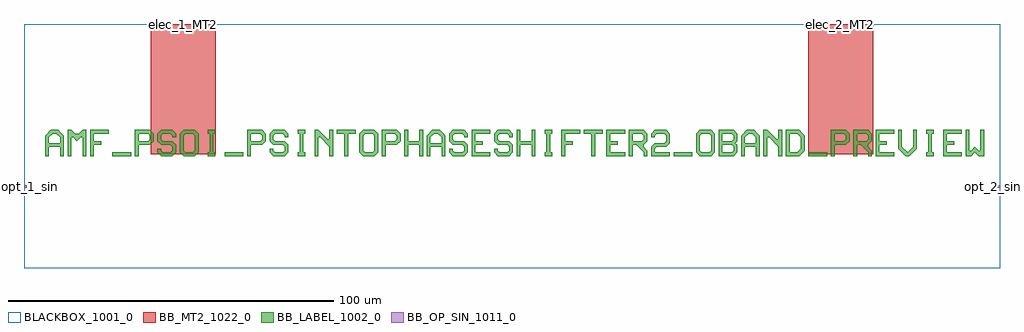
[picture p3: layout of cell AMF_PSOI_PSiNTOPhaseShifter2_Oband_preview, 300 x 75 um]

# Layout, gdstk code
import gdstk
lib = gdstk.Library(unit=1e-6, precision=1e-09)
def R(c, l, rs):  # rectangles x0, y0, x1, y1
    for r in rs: c.add(gdstk.rectangle(r[:2], r[2:], *l))
def P(c, l, *ps):  # polygons
    for p in ps: c.add(gdstk.Polygon(p, *l))
BLACKBOX_1001_0 = (1001, 0)
BB_LABEL_1002_0 = (1002, 0)
BB_OP_SIN_1011_0 = (1011, 0)
BB_MT2_1022_0 = (1022, 0)

amf_psoi_psintophaseshif = lib.new_cell('AMF_PSOI_PSiNTOPhaseShifter2_Oband_preview')
R(amf_psoi_psintophaseshif, BLACKBOX_1001_0, [(0,-25,300,50)])
R(amf_psoi_psintophaseshif, BB_LABEL_1002_0, [(27.196,9.383,32.946,10.533), (61.696,9.383,67.446,10.533), (199.696,9.383,205.446,10.533), (241.096,9.383,246.846,10.533)])
P(amf_psoi_psintophaseshif, BB_LABEL_1002_0, [(6.496,9.383),(6.496,15.708),(8.221,17.433),(10.521,17.433),(11.671,16.283),(8.796,16.283),(7.646,15.133),(7.646,13.408),(11.096,13.408),(11.096,15.133),(9.946,16.283),(11.671,16.283),(12.246,15.708),(12.246,9.383),(11.096,9.383),(11.096,12.258),(7.646,12.258),(7.646,9.383)],
  [(13.396,9.383),(13.396,17.433),(14.546,17.433),(15.696,16.283),(16.846,16.283),(17.996,17.433),(19.146,17.433),(19.146,9.383),(17.996,9.383),(17.996,15.133),(17.421,15.133),(16.271,13.983),(15.121,15.133),(14.546,15.133),(14.546,9.383)],
  [(20.296,9.383),(20.296,17.433),(26.046,17.433),(26.046,16.283),(21.446,16.283),(21.446,13.983),(23.746,13.983),(23.746,12.833),(21.446,12.833),(21.446,9.383)],
  [(34.096,9.383),(34.096,17.433),(38.696,17.433),(39.846,16.283),(39.846,13.983),(38.696,12.833),(35.246,12.833),(35.246,13.983),(38.121,13.983),(38.696,14.558),(38.696,15.708),(38.121,16.283),(35.246,16.283),(35.246,9.383)],
  [(42.146,9.383),(40.996,10.533),(40.996,11.683),(42.146,11.683),(42.146,11.108),(42.721,10.533),(45.021,10.533),(45.596,11.108),(45.596,12.258),(45.021,12.833),(42.146,12.833),(40.996,13.983),(40.996,16.283),(42.146,17.433),(45.596,17.433),(46.746,16.283),(46.746,15.133),(45.596,15.133),(45.596,15.708),(45.021,16.283),(42.721,16.283),(42.146,15.708),(42.146,14.558),(42.721,13.983),(45.596,13.983),(46.746,12.833),(46.746,10.533),(45.596,9.383)],
  [(49.046,9.383),(47.896,10.533),(47.896,16.283),(49.046,17.433),(52.496,17.433),(53.646,16.283),(53.646,13.408),(52.496,13.408),(52.496,15.708),(51.921,16.283),(49.621,16.283),(49.046,15.708),(49.046,11.108),(49.621,10.533),(51.921,10.533),(52.496,11.108),(52.496,13.408),(53.646,13.408),(53.646,10.533),(52.496,9.383)],
  [(56.521,9.383),(56.521,10.533),(57.096,10.533),(57.096,16.283),(56.521,16.283),(56.521,17.433),(58.821,17.433),(58.821,16.283),(58.246,16.283),(58.246,10.533),(58.821,10.533),(58.821,9.383)],
  [(68.596,9.383),(68.596,17.433),(73.196,17.433),(74.346,16.283),(74.346,13.983),(73.196,12.833),(69.746,12.833),(69.746,13.983),(72.621,13.983),(73.196,14.558),(73.196,15.708),(72.621,16.283),(69.746,16.283),(69.746,9.383)],
  [(76.646,9.383),(75.496,10.533),(75.496,11.683),(76.646,11.683),(76.646,11.108),(77.221,10.533),(79.521,10.533),(80.096,11.108),(80.096,12.258),(79.521,12.833),(76.646,12.833),(75.496,13.983),(75.496,16.283),(76.646,17.433),(80.096,17.433),(81.246,16.283),(81.246,15.133),(80.096,15.133),(80.096,15.708),(79.521,16.283),(77.221,16.283),(76.646,15.708),(76.646,14.558),(77.221,13.983),(80.096,13.983),(81.246,12.833),(81.246,10.533),(80.096,9.383)],
  [(84.121,9.383),(84.121,10.533),(84.696,10.533),(84.696,16.283),(84.121,16.283),(84.121,17.433),(86.421,17.433),(86.421,16.283),(85.846,16.283),(85.846,10.533),(86.421,10.533),(86.421,9.383)],
  [(89.296,9.383),(89.296,17.433),(90.446,17.433),(93.321,14.558),(93.896,14.558),(93.896,17.433),(95.046,17.433),(95.046,9.383),(93.896,9.383),(93.896,12.258),(91.021,15.133),(90.446,15.133),(90.446,9.383)],
  [(98.496,9.383),(98.496,16.283),(96.196,16.283),(96.196,17.433),(101.946,17.433),(101.946,16.283),(99.646,16.283),(99.646,9.383)],
  [(104.246,9.383),(103.096,10.533),(103.096,16.283),(104.246,17.433),(107.696,17.433),(108.846,16.283),(108.846,13.408),(107.696,13.408),(107.696,15.708),(107.121,16.283),(104.821,16.283),(104.246,15.708),(104.246,11.108),(104.821,10.533),(107.121,10.533),(107.696,11.108),(107.696,13.408),(108.846,13.408),(108.846,10.533),(107.696,9.383)],
  [(109.996,9.383),(109.996,17.433),(114.596,17.433),(115.746,16.283),(115.746,13.983),(114.596,12.833),(111.146,12.833),(111.146,13.983),(114.021,13.983),(114.596,14.558),(114.596,15.708),(114.021,16.283),(111.146,16.283),(111.146,9.383)],
  [(116.896,9.383),(116.896,17.433),(118.046,17.433),(118.046,13.983),(121.496,13.983),(121.496,17.433),(122.646,17.433),(122.646,9.383),(121.496,9.383),(121.496,12.833),(118.046,12.833),(118.046,9.383)],
  [(123.796,9.383),(123.796,15.708),(125.521,17.433),(127.821,17.433),(128.971,16.283),(126.096,16.283),(124.946,15.133),(124.946,13.408),(128.396,13.408),(128.396,15.133),(127.246,16.283),(128.971,16.283),(129.546,15.708),(129.546,9.383),(128.396,9.383),(128.396,12.258),(124.946,12.258),(124.946,9.383)],
  [(131.846,9.383),(130.696,10.533),(130.696,11.683),(131.846,11.683),(131.846,11.108),(132.421,10.533),(134.721,10.533),(135.296,11.108),(135.296,12.258),(134.721,12.833),(131.846,12.833),(130.696,13.983),(130.696,16.283),(131.846,17.433),(135.296,17.433),(136.446,16.283),(136.446,15.133),(135.296,15.133),(135.296,15.708),(134.721,16.283),(132.421,16.283),(131.846,15.708),(131.846,14.558),(132.421,13.983),(135.296,13.983),(136.446,12.833),(136.446,10.533),(135.296,9.383)],
  [(137.596,9.383),(137.596,17.433),(143.346,17.433),(143.346,16.283),(138.746,16.283),(138.746,13.983),(141.046,13.983),(141.046,12.833),(138.746,12.833),(138.746,10.533),(143.346,10.533),(143.346,9.383)],
  [(145.646,9.383),(144.496,10.533),(144.496,11.683),(145.646,11.683),(145.646,11.108),(146.221,10.533),(148.521,10.533),(149.096,11.108),(149.096,12.258),(148.521,12.833),(145.646,12.833),(144.496,13.983),(144.496,16.283),(145.646,17.433),(149.096,17.433),(150.246,16.283),(150.246,15.133),(149.096,15.133),(149.096,15.708),(148.521,16.283),(146.221,16.283),(145.646,15.708),(145.646,14.558),(146.221,13.983),(149.096,13.983),(150.246,12.833),(150.246,10.533),(149.096,9.383)],
  [(151.396,9.383),(151.396,17.433),(152.546,17.433),(152.546,13.983),(155.996,13.983),(155.996,17.433),(157.146,17.433),(157.146,9.383),(155.996,9.383),(155.996,12.833),(152.546,12.833),(152.546,9.383)],
  [(160.021,9.383),(160.021,10.533),(160.596,10.533),(160.596,16.283),(160.021,16.283),(160.021,17.433),(162.321,17.433),(162.321,16.283),(161.746,16.283),(161.746,10.533),(162.321,10.533),(162.321,9.383)],
  [(165.196,9.383),(165.196,17.433),(170.946,17.433),(170.946,16.283),(166.346,16.283),(166.346,13.983),(168.646,13.983),(168.646,12.833),(166.346,12.833),(166.346,9.383)],
  [(174.396,9.383),(174.396,16.283),(172.096,16.283),(172.096,17.433),(177.846,17.433),(177.846,16.283),(175.546,16.283),(175.546,9.383)],
  [(178.996,9.383),(178.996,17.433),(184.746,17.433),(184.746,16.283),(180.146,16.283),(180.146,13.983),(182.446,13.983),(182.446,12.833),(180.146,12.833),(180.146,10.533),(184.746,10.533),(184.746,9.383)],
  [(185.896,9.383),(185.896,17.433),(190.496,17.433),(191.646,16.283),(187.046,16.283),(187.046,13.983),(189.921,13.983),(190.496,14.558),(190.496,15.708),(189.921,16.283),(191.646,16.283),(191.646,13.983),(190.496,12.833),(190.496,12.258),(191.646,11.108),(191.646,9.383),(190.496,9.383),(190.496,10.533),(188.196,12.833),(187.046,12.833),(187.046,9.383)],
  [(192.796,9.383),(192.796,12.258),(193.946,13.408),(196.821,13.408),(197.396,13.983),(197.396,15.708),(196.821,16.283),(194.521,16.283),(193.946,15.708),(193.946,15.133),(192.796,15.133),(192.796,16.283),(193.946,17.433),(197.396,17.433),(198.546,16.283),(198.546,13.408),(197.396,12.258),(194.521,12.258),(193.946,11.683),(193.946,10.533),(198.546,10.533),(198.546,9.383)],
  [(207.746,9.383),(206.596,10.533),(206.596,16.283),(207.746,17.433),(211.196,17.433),(212.346,16.283),(212.346,13.408),(211.196,13.408),(211.196,15.708),(210.621,16.283),(208.321,16.283),(207.746,15.708),(207.746,11.108),(208.321,10.533),(210.621,10.533),(211.196,11.108),(211.196,13.408),(212.346,13.408),(212.346,10.533),(211.196,9.383)],
  [(213.496,9.383),(213.496,17.433),(218.096,17.433),(219.246,16.283),(214.646,16.283),(214.646,13.983),(217.521,13.983),(218.096,14.558),(218.096,15.708),(217.521,16.283),(219.246,16.283),(219.246,13.983),(218.671,13.408),(219.246,12.833),(214.646,12.833),(214.646,10.533),(217.521,10.533),(218.096,11.108),(218.096,12.258),(217.521,12.833),(219.246,12.833),(219.246,10.533),(218.096,9.383)],
  [(220.396,9.383),(220.396,15.708),(222.121,17.433),(224.421,17.433),(225.571,16.283),(222.696,16.283),(221.546,15.133),(221.546,13.408),(224.996,13.408),(224.996,15.133),(223.846,16.283),(225.571,16.283),(226.146,15.708),(226.146,9.383),(224.996,9.383),(224.996,12.258),(221.546,12.258),(221.546,9.383)],
  [(227.296,9.383),(227.296,17.433),(228.446,17.433),(231.321,14.558),(231.896,14.558),(231.896,17.433),(233.046,17.433),(233.046,9.383),(231.896,9.383),(231.896,12.258),(229.021,15.133),(228.446,15.133),(228.446,9.383)],
  [(234.196,9.383),(234.196,17.433),(238.221,17.433),(239.371,16.283),(235.346,16.283),(235.346,10.533),(237.646,10.533),(238.796,11.683),(238.796,15.133),(237.646,16.283),(239.371,16.283),(239.946,15.708),(239.946,11.108),(238.221,9.383)],
  [(247.996,9.383),(247.996,17.433),(252.596,17.433),(253.746,16.283),(253.746,13.983),(252.596,12.833),(249.146,12.833),(249.146,13.983),(252.021,13.983),(252.596,14.558),(252.596,15.708),(252.021,16.283),(249.146,16.283),(249.146,9.383)],
  [(254.896,9.383),(254.896,17.433),(259.496,17.433),(260.646,16.283),(256.046,16.283),(256.046,13.983),(258.921,13.983),(259.496,14.558),(259.496,15.708),(258.921,16.283),(260.646,16.283),(260.646,13.983),(259.496,12.833),(259.496,12.258),(260.646,11.108),(260.646,9.383),(259.496,9.383),(259.496,10.533),(257.196,12.833),(256.046,12.833),(256.046,9.383)],
  [(261.796,9.383),(261.796,17.433),(267.546,17.433),(267.546,16.283),(262.946,16.283),(262.946,13.983),(265.246,13.983),(265.246,12.833),(262.946,12.833),(262.946,10.533),(267.546,10.533),(267.546,9.383)],
  [(270.996,9.383),(268.696,11.683),(268.696,17.433),(269.846,17.433),(269.846,12.258),(271.571,10.533),(273.296,12.258),(273.296,17.433),(274.446,17.433),(274.446,11.683),(272.146,9.383)],
  [(277.321,9.383),(277.321,10.533),(277.896,10.533),(277.896,16.283),(277.321,16.283),(277.321,17.433),(279.621,17.433),(279.621,16.283),(279.046,16.283),(279.046,10.533),(279.621,10.533),(279.621,9.383)],
  [(282.496,9.383),(282.496,17.433),(288.246,17.433),(288.246,16.283),(283.646,16.283),(283.646,13.983),(285.946,13.983),(285.946,12.833),(283.646,12.833),(283.646,10.533),(288.246,10.533),(288.246,9.383)],
  [(289.396,9.383),(289.396,17.433),(290.546,17.433),(290.546,11.108),(291.121,11.108),(292.271,12.258),(293.421,11.108),(293.996,11.108),(293.996,17.433),(295.146,17.433),(295.146,9.383),(293.421,9.383),(292.271,10.533),(291.121,9.383)])
R(amf_psoi_psintophaseshif, BB_OP_SIN_1011_0, [(0,-0.4,0.8,0.4), (299.2,-0.4,300,0.4)])
R(amf_psoi_psintophaseshif, BB_MT2_1022_0, [(39,10,59,50), (241,10,261,50)])
amf_psoi_psintophaseshif.add(gdstk.Label('elec_1_MT2', (49,50), layer=1022, texttype=0))
amf_psoi_psintophaseshif.add(gdstk.Label('elec_2_MT2', (251,50), layer=1022, texttype=0))
amf_psoi_psintophaseshif.add(gdstk.Label('opt_2_sin', (300,0), layer=1011, texttype=0))
amf_psoi_psintophaseshif.add(gdstk.Label('opt_1_sin', (0,0), layer=1011, texttype=0))

lib.write_gds('AMF_PSOI_PSiNTOPhaseShifter2_Oband_preview.gds')
